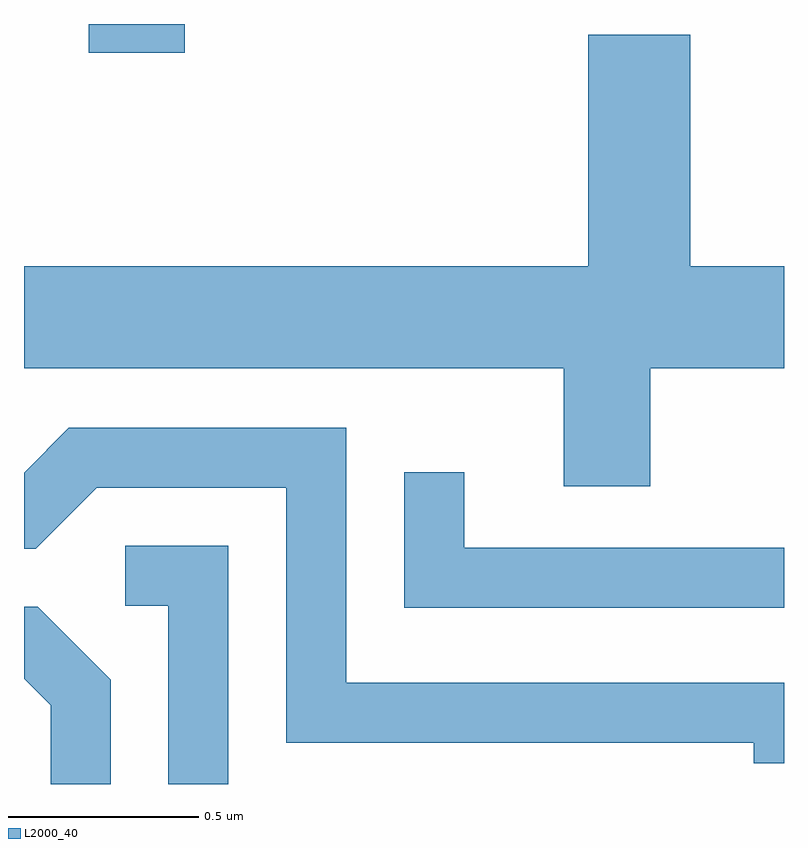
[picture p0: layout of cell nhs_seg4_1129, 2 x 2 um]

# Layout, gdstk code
import gdstk
lib = gdstk.Library(unit=1e-6, precision=1e-09)
def R(c, l, rs):  # rectangles x0, y0, x1, y1
    for r in rs: c.add(gdstk.rectangle(r[:2], r[2:], *l))
def P(c, l, *ps):  # polygons
    for p in ps: c.add(gdstk.Polygon(p, *l))
L2000_40 = (2000, 40)

nhs_seg4_1129 = lib.new_cell('nhs_seg4_1129')
R(nhs_seg4_1129, L2000_40, [(193.781,1288.906,194.034,1288.982)])
P(nhs_seg4_1129, L2000_40, [(195.259,1288.076),(195.611,1288.076),(195.611,1288.344),(195.364,1288.344),(195.364,1288.954),(195.096,1288.954),(195.096,1288.344),(193.611,1288.344),(193.611,1288.076),(195.031,1288.076),(195.031,1287.766),(195.259,1287.766)],
  [(195.611,1287.249),(194.459,1287.249),(194.459,1287.919),(193.729,1287.919),(193.611,1287.801),(193.611,1287.601),(193.642,1287.601),(193.802,1287.761),(194.301,1287.761),(194.301,1287.091),(195.531,1287.091),(195.531,1287.036),(195.611,1287.036)],
  [(195.611,1287.604),(194.769,1287.604),(194.769,1287.803),(194.611,1287.803),(194.611,1287.446),(195.611,1287.446)],
  [(194.149,1287.609),(193.878,1287.609),(193.878,1287.451),(193.991,1287.451),(193.991,1286.982),(194.149,1286.982)],
  [(193.839,1287.257),(193.647,1287.449),(193.611,1287.449),(193.611,1287.259),(193.681,1287.189),(193.681,1286.982),(193.839,1286.982)])

lib.write_gds('nhs_seg4_1129.gds')
